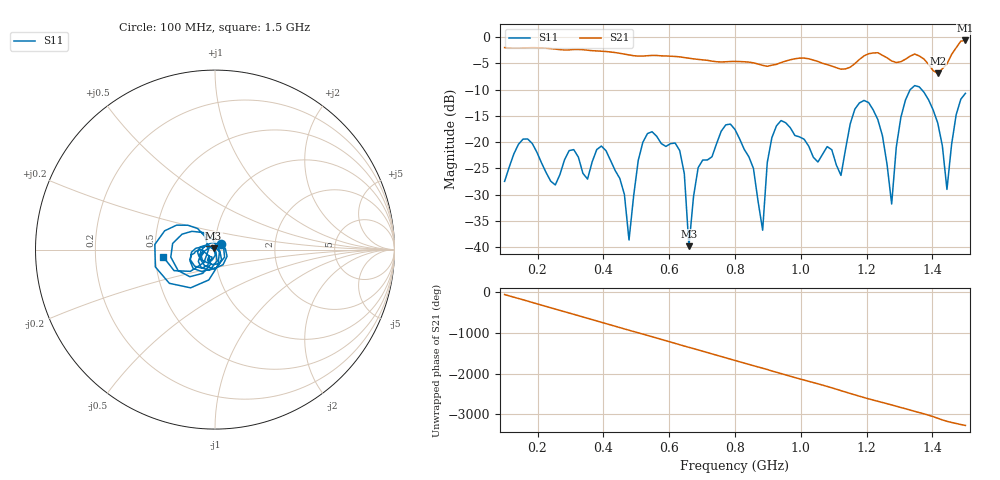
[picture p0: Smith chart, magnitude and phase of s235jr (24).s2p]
! NanoVNA-App
! Date: 2025-09-25 15:04:21
! Start: 100MHz Stop: 1,5GHz Points: 101
! S-Parameter data: F S11 S21 S12 S22
# Hz S RI R 50
!  Frequency  S11_Real  S11_Imag  S21_Real  S21_Imag  S12_Real  S12_Imag  S22_Real  S22_Imag
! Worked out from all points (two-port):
!   101 points, 100 MHz to 1.5 GHz, reference 50 ohm
!   highest |S21| = -0.61 dB at 1.5 GHz (marker M1); lowest = -6.9 dB at 1.416 GHz (marker M2)
!   |S21| within 3 dB of the highest: start of sweep to 602 MHz; 1.191 GHz to 1.253 GHz (62 MHz wide, 5.07 % of centre) (the widest 2 of 4)
!   lowest |S11| = -39.8 dB at 660 MHz (marker M3), VSWR 1.02, Z = 49.2 + j0.67 ohm
!   |S11| at or under -10 dB: start of sweep to 1.332 GHz; 1.367 GHz to end of sweep
!   S12 and S22 are empty: the file has one direction only
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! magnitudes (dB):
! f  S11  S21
! 100 MHz  -27.5  -2.0
! 156 MHz  -19.4  -2.0
! 338 MHz  -26.0  -2.4
! 408 MHz  -21.6  -2.7
! 478 MHz  -38.7  -3.4
! 520 MHz  -20.0  -3.6
! 576 MHz  -20.3  -3.5
! 632 MHz  -21.6  -3.7
! 660 MHz  -39.8  -4.0
! 688 MHz  -24.9  -4.2
! 800 MHz  -17.6  -4.6
! 884 MHz  -36.8  -5.4
! 898 MHz  -23.9  -5.5
! 926 MHz  -16.9  -5.2
! 1.038 GHz  -22.9  -4.4
! 1.122 GHz  -26.4  -6.1
! 1.206 GHz  -12.5  -3.1
! 1.276 GHz  -31.8  -4.5
! 1.332 GHz  -10.0  -3.6
! 1.416 GHz  -16.3  -6.9
! 1.444 GHz  -29.0  -5.1
! 1.5 GHz  -10.7  -0.6
